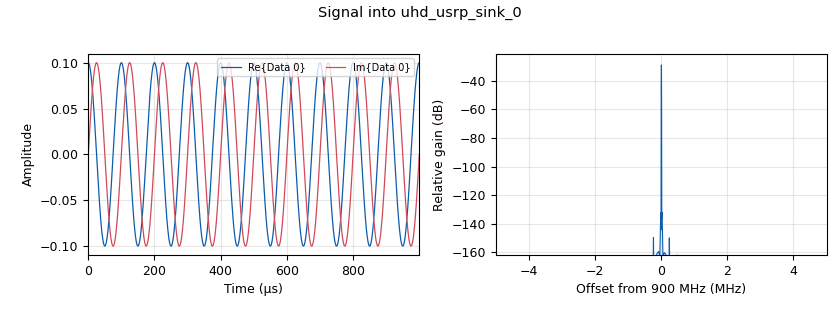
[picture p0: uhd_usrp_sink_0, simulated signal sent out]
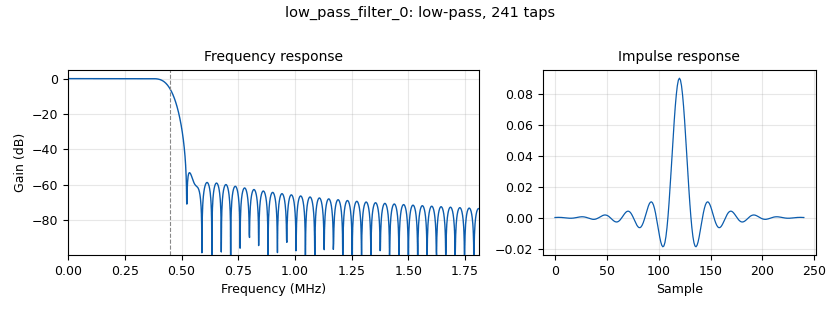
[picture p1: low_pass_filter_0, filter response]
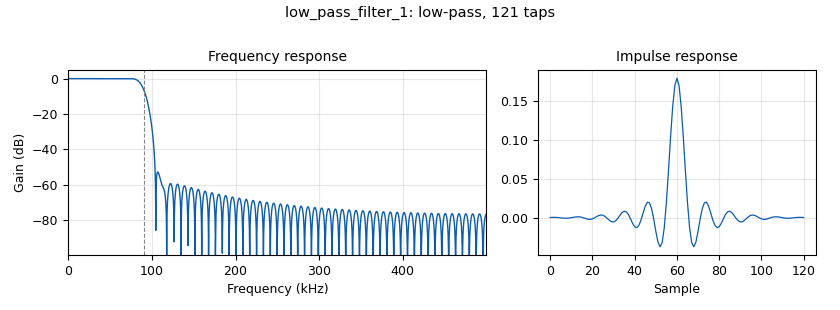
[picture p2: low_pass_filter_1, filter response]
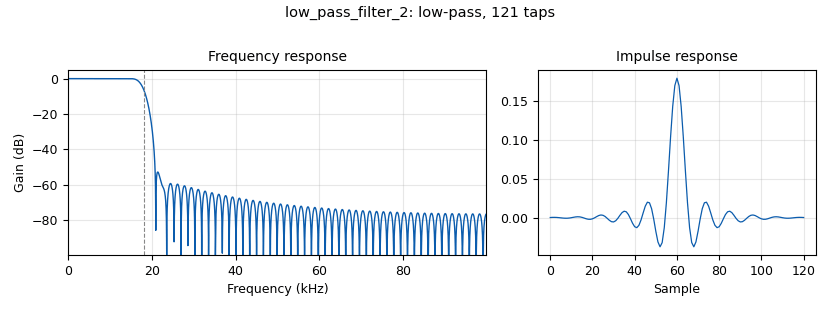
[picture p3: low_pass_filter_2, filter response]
options:
  parameters:
    generate_options: qt_gui
    id: test0_usrp_audio_demo
    output_language: python
    title: USRP ToF Vibrometry - Clean Audio DSP + Record Demo
  states: {}

blocks:
- name: agc_max_gain
  id: variable
  parameters:
    value: '2000'
  states: {}
- name: agc_rate
  id: variable
  parameters:
    value: '0.001'
  states: {}
- name: agc_ref
  id: variable
  parameters:
    value: '0.5'
  states: {}
- name: audio_hp_cutoff
  id: variable
  parameters:
    value: '1'
  states: {}
- name: audio_lp_cutoff
  id: variable
  parameters:
    value: '8000'
  states: {}
- name: audio_rate
  id: variable
  parameters:
    value: '48000'
  states: {}
- name: audio_trans_width
  id: variable
  parameters:
    value: '150'
  states: {}
- name: decim1
  id: variable
  parameters:
    value: '10'
  states: {}
- name: decim2
  id: variable
  parameters:
    value: '5'
  states: {}
- name: decim3
  id: variable
  parameters:
    value: '5'
  states: {}
- name: fb
  id: variable_qtgui_range
  parameters:
    gui_hint: 0,2,1,1
    label: Probe Tone (Hz)
    start: 1e3
    step: '100'
    stop: 20e3
    value: 10e3
  states: {}
- name: fc
  id: variable
  parameters:
    value: '900000000.0'
  states: {}
- name: fs1
  id: variable
  parameters:
    value: samp_rate/decim1
  states: {}
- name: fs2
  id: variable
  parameters:
    value: fs1/decim2
  states: {}
- name: fs3
  id: variable
  parameters:
    value: fs2/decim3
  states: {}
- name: record_basename
  id: variable_qtgui_entry
  parameters:
    gui_hint: 0,3,1,1
    label: Recording Name
    type: string
    value: '''tof_audio'''
  states: {}
- name: record_dir
  id: variable
  parameters:
    value: '''/home/risc/ram/USRP/usrp_software/gnuradio_software'''
  states: {}
- name: record_enable
  id: variable_qtgui_toggle_button_msg
  parameters:
    gui_hint: 0,4,1,1
    initPressed: 'False'
    label: Record
    pressBackgroundColor: red
    pressed: 'True'
    released: 'False'
    type: bool
    value: 'False'
  states: {}
- name: record_filename
  id: variable
  parameters:
    value: os.path.join(record_dir, record_basename + '_' + time.strftime('%Y%m%d_%H%M%S') + '.wav')
  states: {}
- name: resamp_decim
  id: variable
  parameters:
    value: '5'
  states: {}
- name: resamp_interp
  id: variable
  parameters:
    value: '6'
  states: {}
- name: rx_gain
  id: variable_qtgui_range
  parameters:
    gui_hint: 0,0,1,1
    label: RX Gain (dB)
    start: '0'
    step: '0.5'
    stop: '31.5'
    value: '10'
  states: {}
- name: samp_rate
  id: variable
  parameters:
    value: '10000000.0'
  states: {}
- name: tx_amp
  id: variable
  parameters:
    value: '0.1'
  states: {}
- name: tx_gain
  id: variable_qtgui_range
  parameters:
    gui_hint: 0,1,1,1
    label: TX Gain (dB)
    start: '0'
    step: '0.5'
    stop: '31.5'
    value: '28'
  states: {}
- name: analog_agc_xx_0
  id: analog_agc_xx
  parameters:
    gain: '1.0'
    max_gain: agc_max_gain
    rate: agc_rate
    reference: agc_ref
    type: float
  states: {}
- name: analog_sig_source_x_0
  id: analog_sig_source_x
  parameters:
    amp: tx_amp
    freq: fb
    offset: '0'
    phase: '0'
    samp_rate: samp_rate
    type: complex
    waveform: analog.GR_SIN_WAVE
  states: {}
- name: audio_sink_0
  id: audio_sink
  parameters:
    samp_rate: audio_rate
  states: {}
- name: band_pass_filter_0
  id: band_pass_filter
  parameters:
    decim: '1'
    gain: '1'
    high_cutoff_freq: audio_lp_cutoff
    low_cutoff_freq: audio_hp_cutoff
    samp_rate: fs3
    type: fir_filter_fff
    width: audio_trans_width
    win: window.WIN_HAMMING
  states: {state: bypassed}
- name: blocks_complex_to_arg_0
  id: blocks_complex_to_arg
  parameters: {}
  states: {}
- name: blocks_copy_0
  id: blocks_copy
  parameters:
    enabled: record_enable
    type: float
  states: {}
- name: blocks_multiply_conjugate_cc_0
  id: blocks_multiply_conjugate_cc
  parameters: {}
  states: {}
- name: blocks_wavfile_sink_0
  id: blocks_wavfile_sink
  parameters:
    bits_per_sample1: FORMAT_PCM_16
    file: record_filename
    format: FORMAT_WAV
    samp_rate: audio_rate
  states: {}
- name: import_0
  id: import
  parameters:
    imports: import os, time
  states: {}
- name: low_pass_filter_0
  id: low_pass_filter
  parameters:
    cutoff_freq: 0.45*fs1
    decim: decim1
    gain: '1'
    samp_rate: samp_rate
    type: fir_filter_ccf
    width: 0.1*fs1
    win: window.WIN_HAMMING
  states: {}
- name: low_pass_filter_1
  id: low_pass_filter
  parameters:
    cutoff_freq: 0.45*fs2
    decim: decim2
    gain: '1'
    samp_rate: fs1
    type: fir_filter_ccf
    width: 0.1*fs2
    win: window.WIN_HAMMING
  states: {}
- name: low_pass_filter_2
  id: low_pass_filter
  parameters:
    cutoff_freq: 0.45*fs3
    decim: decim3
    gain: '1'
    samp_rate: fs2
    type: fir_filter_ccf
    width: 0.1*fs3
    win: window.WIN_HAMMING
  states: {}
- name: qtgui_time_sink_x_1
  id: qtgui_time_sink_x
  parameters:
    autoscale: 'True'
    grid: 'True'
    gui_hint: 1,0,1,4
    label1: Phase (Notes Being Played)
    name: '"Phase (Notes Being Played)"'
    size: '4096'
    srate: fs3
    type: float
    update_time: '0.05'
    ylabel: Phase
    ymax: '3.2'
    ymin: '-3.2'
    yunit: rad
  states: {}
- name: qtgui_waterfall_sink_x_1
  id: qtgui_waterfall_sink_x
  parameters:
    bw: fs3
    fc: '0'
    fftsize: '2048'
    grid: 'True'
    gui_hint: 2,0,1,4
    name: '"Phase Spectrogram (Notes Being Played)"'
    type: float
    update_time: '0.1'
  states: {}
- name: rational_resampler_xxx_0
  id: rational_resampler_xxx
  parameters:
    decim: resamp_decim
    interp: resamp_interp
    type: fff
  states: {}
- name: uhd_usrp_sink_0
  id: uhd_usrp_sink
  parameters:
    ant0: '"TX/RX"'
    center_freq0: fc
    dev_addr: addr=192.168.10.3
    gain0: tx_gain
    otw: sc16
    samp_rate: samp_rate
    sync: pc_clock
    type: fc32
  states: {}
- name: uhd_usrp_source_0
  id: uhd_usrp_source
  parameters:
    ant0: '"RX2"'
    center_freq0: fc
    dev_addr: addr=192.168.10.3
    gain0: rx_gain
    otw: sc16
    samp_rate: samp_rate
    sync: pc_clock
    type: fc32
  states: {}

connections:
- [analog_agc_xx_0, '0', qtgui_time_sink_x_1, '0']
- [analog_agc_xx_0, '0', qtgui_waterfall_sink_x_1, '0']
- [analog_agc_xx_0, '0', rational_resampler_xxx_0, '0']
- [analog_sig_source_x_0, '0', blocks_multiply_conjugate_cc_0, '0']
- [analog_sig_source_x_0, '0', uhd_usrp_sink_0, '0']
- [band_pass_filter_0, '0', analog_agc_xx_0, '0']
- [blocks_complex_to_arg_0, '0', band_pass_filter_0, '0']
- [blocks_copy_0, '0', audio_sink_0, '0']
- [blocks_copy_0, '0', blocks_wavfile_sink_0, '0']
- [blocks_multiply_conjugate_cc_0, '0', low_pass_filter_0, '0']
- [low_pass_filter_0, '0', low_pass_filter_1, '0']
- [low_pass_filter_1, '0', low_pass_filter_2, '0']
- [low_pass_filter_2, '0', blocks_complex_to_arg_0, '0']
- [rational_resampler_xxx_0, '0', blocks_copy_0, '0']
- [uhd_usrp_source_0, '0', blocks_multiply_conjugate_cc_0, '1']

metadata:
  file_format: 1
  grc_version: 3.10.12.0
